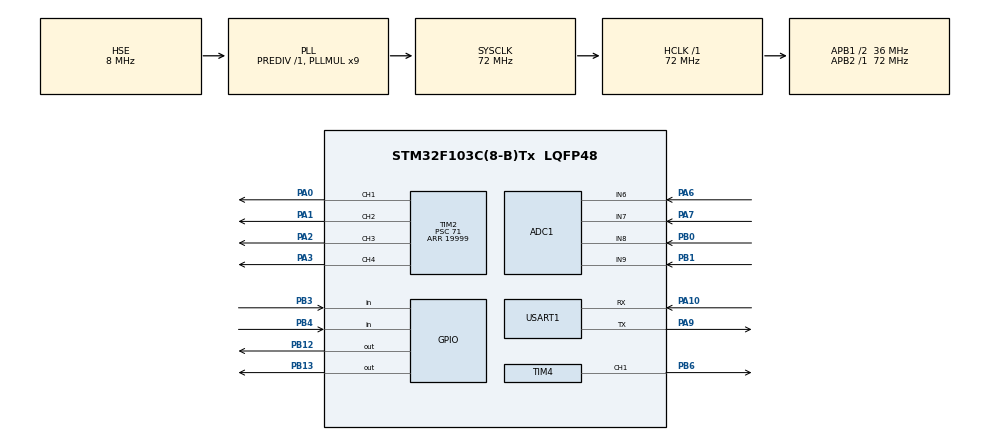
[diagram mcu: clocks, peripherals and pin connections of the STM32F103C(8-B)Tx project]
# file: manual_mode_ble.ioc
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ADC1.Channel-0\#ChannelRegularConversion=ADC_CHANNEL_6
ADC1.NbrOfConversionFlag=1
ADC1.Rank-0\#ChannelRegularConversion=1
ADC1.SamplingTime-0\#ChannelRegularConversion=ADC_SAMPLETIME_55CYCLES_5
ADC1.master=1
Mcu.Family=STM32F1
Mcu.Name=STM32F103C(8-B)Tx
Mcu.Package=LQFP48
NVIC.PriorityGroup=NVIC_PRIORITYGROUP_4
NVIC.USART1_IRQn=true\:0\:0\:false\:false\:true\:true\:true\:true
PA0-WKUP.Signal=S_TIM2_CH1_ETR
PA1.Signal=S_TIM2_CH2
PA10.Mode=Asynchronous
PA10.Signal=USART1_RX
PA13.Mode=Serial_Wire
PA13.Signal=SYS_JTMS-SWDIO
PA14.Mode=Serial_Wire
PA14.Signal=SYS_JTCK-SWCLK
PA2.Signal=S_TIM2_CH3
PA3.Signal=S_TIM2_CH4
PA6.Signal=ADCx_IN6
PA7.Signal=ADCx_IN7
PA9.Mode=Asynchronous
PA9.Signal=USART1_TX
PB0.Signal=ADCx_IN8
PB1.Signal=ADCx_IN9
PB12.Signal=GPIO_Output
PB13.Signal=GPIO_Output
PB3.Signal=GPIO_Input
PB4.Signal=GPIO_Input
PB6.Signal=S_TIM4_CH1
PD0-OSC_IN.Mode=HSE-External-Oscillator
PD0-OSC_IN.Signal=RCC_OSC_IN
PD1-OSC_OUT.Mode=HSE-External-Oscillator
PD1-OSC_OUT.Signal=RCC_OSC_OUT
ProjectManager.HeapSize=0x200
ProjectManager.StackSize=0x400
ProjectManager.TargetToolchain=STM32CubeIDE
RCC.ADCPresc=RCC_ADCPCLK2_DIV6
RCC.AHBFreq_Value=72000000
RCC.APB1CLKDivider=RCC_HCLK_DIV2
RCC.APB1Freq_Value=36000000
RCC.APB1TimFreq_Value=72000000
RCC.APB2Freq_Value=72000000
RCC.APB2TimFreq_Value=72000000
RCC.HCLKFreq_Value=72000000
RCC.PLLMUL=RCC_PLL_MUL9
RCC.PLLSourceVirtual=RCC_PLLSOURCE_HSE
RCC.SYSCLKFreq_VALUE=72000000
RCC.SYSCLKSource=RCC_SYSCLKSOURCE_PLLCLK
RCC.USBFreq_Value=72000000
SH.ADCx_IN6.0=ADC1_IN6,IN6
SH.ADCx_IN7.0=ADC1_IN7,IN7
SH.ADCx_IN8.0=ADC1_IN8,IN8
SH.ADCx_IN9.0=ADC1_IN9,IN9
SH.S_TIM2_CH1_ETR.0=TIM2_CH1,PWM Generation1 CH1
SH.S_TIM2_CH2.0=TIM2_CH2,PWM Generation2 CH2
SH.S_TIM2_CH3.0=TIM2_CH3,PWM Generation3 CH3
SH.S_TIM2_CH4.0=TIM2_CH4,PWM Generation4 CH4
SH.S_TIM4_CH1.0=TIM4_CH1,PWM Generation1 CH1
TIM2.Channel-PWM\ Generation1\ CH1=TIM_CHANNEL_1
TIM2.Channel-PWM\ Generation2\ CH2=TIM_CHANNEL_2
TIM2.Channel-PWM\ Generation3\ CH3=TIM_CHANNEL_3
TIM2.Channel-PWM\ Generation4\ CH4=TIM_CHANNEL_4
TIM2.Period=19999
TIM2.Prescaler=71
TIM4.Channel-PWM\ Generation1\ CH1=TIM_CHANNEL_1
TIM4.Period=19999
TIM4.Prescaler=71
USART1.VirtualMode=VM_ASYNC
VP_TIM2_VS_ClockSourceINT.Mode=Internal
VP_TIM4_VS_ClockSourceINT.Mode=Internal
board=custom

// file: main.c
/* USER CODE BEGIN Header */
/**
  ******************************************************************************
  * @file           : main.c
  * @brief          : Main program body
  ******************************************************************************
  * @attention
  *
  * Copyright (c) 2026 STMicroelectronics.
  * All rights reserved.
  *
  * This software is licensed under terms that can be found in the LICENSE file
  * in the root directory of this software component.
  * If no LICENSE file comes with this software, it is provided AS-IS.
  *
  ******************************************************************************
  */
/* USER CODE END Header */
#include "main.h"
#include <stdio.h>

ADC_HandleTypeDef hadc1;

TIM_HandleTypeDef htim2;
TIM_HandleTypeDef htim4;

UART_HandleTypeDef huart1;

/* USER CODE BEGIN PV */
#define DEAD_BAND_LOW	1948
#define DEAD_BAND_HIGH	2148

//Global joint speed
float global_angular_speed = 25.0f;

const uint32_t LOOP_INTERVAL_MS = 20;
uint32_t last_loop_tick = 0;

//Current joint position
float angle_base = 90.0f; //0 to 180
float angle_shoulder = 0.0f; //0 to 90
float angle_elbow = 0.0f;//0 to 90
float angle_wrist = 45.0f; //0 to 90
float angle_grab = 30.0f; //0 to 60

// Mechanical joint boundary limits
#define BASE_MIN        0.0f
#define BASE_MAX      180.0f
#define SHOULDER_MIN    0.0f
#define SHOULDER_MAX   90.0f
#define ELBOW_MIN       0.0f
#define ELBOW_MAX      90.0f
#define WRIST_MIN       0.0f
#define WRIST_MAX      90.0f
#define GRAB_MIN        0.0f
#define GRAB_MAX       60.0f

uint8_t rx_byte = 0;
char rx_buffer[32];
uint8_t rx_index = 0;
volatile uint8_t frame_ready = 0;

//Helper: Dynamically sample any ADC channel with 55.5 cycles sampling time
uint16_t Read_ADC_Channel(uint32_t channel)
{
  ADC_ChannelConfTypeDef sConfig = {0};
  sConfig.Channel = channel;
  sConfig.Rank = ADC_REGULAR_RANK_1;
  sConfig.SamplingTime = ADC_SAMPLETIME_55CYCLES_5;
  HAL_ADC_ConfigChannel(&hadc1, &sConfig);

  HAL_ADC_Start(&hadc1);
  HAL_ADC_PollForConversion(&hadc1, 5);
  uint16_t val = HAL_ADC_GetValue(&hadc1);
  HAL_ADC_Stop(&hadc1);
  return val;
}

// Helper: Convert angle (0-180 deg) to pulse width (500-2500 us)
uint16_t angle_to_pulse(float angle)
{
  if (angle < 0.0f) angle = 0.0f;
  if (angle > 180.0f) angle = 180.0f;
  return (uint16_t)(500.0f + (angle / 180.0f) * 2000.0f);
}

// Helper: Update all 5 hardware timer PWM channels
void Update_Servo_PWM(void)
{
  __HAL_TIM_SET_COMPARE(&htim2, TIM_CHANNEL_1, angle_to_pulse(angle_base));     // PA0
  __HAL_TIM_SET_COMPARE(&htim2, TIM_CHANNEL_2, angle_to_pulse(angle_shoulder)); // PA1
  __HAL_TIM_SET_COMPARE(&htim2, TIM_CHANNEL_3, angle_to_pulse(angle_elbow));    // PA2
  __HAL_TIM_SET_COMPARE(&htim2, TIM_CHANNEL_4, angle_to_pulse(angle_wrist));    // PA3
  __HAL_TIM_SET_COMPARE(&htim4, TIM_CHANNEL_1, angle_to_pulse(angle_grab));     // PB6
}

/* USER CODE END PV */

void SystemClock_Config(void);
static void MX_GPIO_Init(void);
static void MX_ADC1_Init(void);
static void MX_TIM2_Init(void);
static void MX_TIM4_Init(void);
static void MX_USART1_UART_Init(void);

int main(void)
{

  /* MCU Configuration--------------------------------------------------------*/

  /* Reset of all peripherals, Initializes the Flash interface and the Systick. */
  HAL_Init();

  /* Configure the system clock */
  SystemClock_Config();

  /* Initialize all configured peripherals */
  MX_GPIO_Init();
  MX_ADC1_Init();
  MX_TIM2_Init();
  MX_TIM4_Init();
  MX_USART1_UART_Init();
  /* USER CODE BEGIN 2 */

  // 1. Calibrate ADC
    HAL_ADCEx_Calibration_Start(&hadc1);

    // 2. Start PWM generation on all 5 servo channels
    HAL_TIM_PWM_Start(&htim2, TIM_CHANNEL_1);
    HAL_TIM_PWM_Start(&htim2, TIM_CHANNEL_2);
    HAL_TIM_PWM_Start(&htim2, TIM_CHANNEL_3);
    HAL_TIM_PWM_Start(&htim2, TIM_CHANNEL_4);
    HAL_TIM_PWM_Start(&htim4, TIM_CHANNEL_1);

    // 3. Move servos to default initial angles
    Update_Servo_PWM();

    // 4. Ensure LEDs start OFF
    HAL_GPIO_WritePin(GPIOB, GPIO_PIN_12 | GPIO_PIN_13, GPIO_PIN_RESET);

    // 5. Start background non-blocking UART reception
    HAL_UART_Receive_IT(&huart1, &rx_byte, 1);

  /* USER CODE END 2 */

  /* Infinite loop */
  /* USER CODE BEGIN WHILE */
  while (1)
  {
	  //Mode1
	  if (frame_ready){
		  int b, s, e, w, g;
		  if (sscanf(rx_buffer, "<%d,%d,%d,%d,%d>", &b, &s, &e, &w, &g) == 5){
			  // Enforce boundary safety limits on incoming BLE commands
			  angle_base     = (b < BASE_MIN)     ? BASE_MIN     : (b > BASE_MAX)     ? BASE_MAX     : (float)b;
			  angle_shoulder = (s < SHOULDER_MIN) ? SHOULDER_MIN : (s > SHOULDER_MAX) ? SHOULDER_MAX : (float)s;
			  angle_elbow    = (e < ELBOW_MIN)    ? ELBOW_MIN    : (e > ELBOW_MAX)    ? ELBOW_MAX    : (float)e;
			  angle_wrist    = (w < WRIST_MIN)    ? WRIST_MIN    : (w > WRIST_MAX)    ? WRIST_MAX    : (float)w;
			  angle_grab     = (g < GRAB_MIN)     ? GRAB_MIN     : (g > GRAB_MAX)     ? GRAB_MAX     : (float)g;

			  // Apply updated angles to hardware immediately
			  Update_Servo_PWM();

			  // Toggle PB12 LED to confirm packet receipt
			  HAL_GPIO_TogglePin(GPIOB, GPIO_PIN_12);

			  // Send full acknowledgment frame back to PC
			  char ack_msg[48];
			  int len = snprintf(ack_msg, sizeof(ack_msg), "ACK:%d,%d,%d,%d,%d\r\n",
			                     (int)angle_base, (int)angle_shoulder, (int)angle_elbow, (int)angle_wrist, (int)angle_grab);
			  HAL_UART_Transmit(&huart1, (uint8_t*)ack_msg, len, 50);
		  }
		  frame_ready = 0;
	  }
	  //Mode2
	  if ((HAL_GetTick() - last_loop_tick) >= LOOP_INTERVAL_MS)
	      {
	        last_loop_tick = HAL_GetTick();
	        float step = global_angular_speed * (LOOP_INTERVAL_MS / 1000.0f);
	        uint8_t any_input_active = 0;

	        // Sample 4 Joystick Analog Channels
	        uint16_t adc_base     = Read_ADC_Channel(ADC_CHANNEL_7); // PA7
	        uint16_t adc_shoulder = Read_ADC_Channel(ADC_CHANNEL_6); // PA6
	        uint16_t adc_elbow    = Read_ADC_Channel(ADC_CHANNEL_8); // PB0
	        uint16_t adc_wrist    = Read_ADC_Channel(ADC_CHANNEL_9); // PB1

	        // --- Base Joint (PA7) ---
	        if (adc_base > DEAD_BAND_HIGH) {
	          angle_base -= step;
	          if (angle_base < BASE_MIN) angle_base = BASE_MIN;
	          any_input_active = 1;
	        } else if (adc_base < DEAD_BAND_LOW) {
	          angle_base += step;
	          if (angle_base > BASE_MAX) angle_base = BASE_MAX;
	          any_input_active = 1;
	        }

	        // --- Shoulder Joint (PA6) ---
	        if (adc_shoulder > DEAD_BAND_HIGH) {
	          angle_shoulder -= step;
	          if (angle_shoulder < SHOULDER_MIN) angle_shoulder = SHOULDER_MIN;
	          any_input_active = 1;
	        } else if (adc_shoulder < DEAD_BAND_LOW) {
	          angle_shoulder += step;
	          if (angle_shoulder > SHOULDER_MAX) angle_shoulder = SHOULDER_MAX;
	          any_input_active = 1;
	        }

	        // --- Elbow Joint (PB0) ---
	        if (adc_elbow > DEAD_BAND_HIGH) {
	          angle_elbow += step;
	          if (angle_elbow > ELBOW_MAX) angle_elbow = ELBOW_MAX;
	          any_input_active = 1;
	        } else if (adc_elbow < DEAD_BAND_LOW) {
	          angle_elbow -= step;
	          if (angle_elbow < ELBOW_MIN) angle_elbow = ELBOW_MIN;
	          any_input_active = 1;
	        }

	        // --- Wrist Joint (PB1) ---
	        if (adc_wrist > DEAD_BAND_HIGH) {
	          angle_wrist += step;
	          if (angle_wrist > WRIST_MAX) angle_wrist = WRIST_MAX;
	          any_input_active = 1;
	        } else if (adc_wrist < DEAD_BAND_LOW) {
	          angle_wrist -= step;
	          if (angle_wrist < WRIST_MIN) angle_wrist = WRIST_MIN;
	          any_input_active = 1;
	        }

	        // --- Active-Low Gripper Buttons (PB3 & PB4) ---
	        if (HAL_GPIO_ReadPin(GPIOB, GPIO_PIN_3) == GPIO_PIN_RESET) {
	          angle_grab += step;
	          if (angle_grab > GRAB_MAX) angle_grab = GRAB_MAX;
	          any_input_active = 1;
	        }
	        if (HAL_GPIO_ReadPin(GPIOB, GPIO_PIN_4) == GPIO_PIN_RESET) {
	          angle_grab -= step;
	          if (angle_grab < GRAB_MIN) angle_grab = GRAB_MIN;
	          any_input_active = 1;
	        }

	        // Update PWM outputs if manual controls modified the positions
	        if (any_input_active) {
	          Update_Servo_PWM();
	          HAL_GPIO_WritePin(GPIOB, GPIO_PIN_12, GPIO_PIN_SET);
	        } else {
	          HAL_GPIO_WritePin(GPIOB, GPIO_PIN_12, GPIO_PIN_RESET);
	        }
	      }
    /* USER CODE END WHILE */

  }
}

void SystemClock_Config(void)
{
  RCC_OscInitTypeDef RCC_OscInitStruct = {0};
  RCC_ClkInitTypeDef RCC_ClkInitStruct = {0};
  RCC_PeriphCLKInitTypeDef PeriphClkInit = {0};

  /** Initializes the RCC Oscillators according to the specified parameters
  * in the RCC_OscInitTypeDef structure.
  */
  RCC_OscInitStruct.OscillatorType = RCC_OSCILLATORTYPE_HSE;
  RCC_OscInitStruct.HSEState = RCC_HSE_ON;
  RCC_OscInitStruct.HSEPredivValue = RCC_HSE_PREDIV_DIV1;
  RCC_OscInitStruct.HSIState = RCC_HSI_ON;
  RCC_OscInitStruct.PLL.PLLState = RCC_PLL_ON;
  RCC_OscInitStruct.PLL.PLLSource = RCC_PLLSOURCE_HSE;
  RCC_OscInitStruct.PLL.PLLMUL = RCC_PLL_MUL9;
  if (HAL_RCC_OscConfig(&RCC_OscInitStruct) != HAL_OK)
  {
    Error_Handler();
  }

  /** Initializes the CPU, AHB and APB buses clocks
  */
  RCC_ClkInitStruct.ClockType = RCC_CLOCKTYPE_HCLK|RCC_CLOCKTYPE_SYSCLK
                              |RCC_CLOCKTYPE_PCLK1|RCC_CLOCKTYPE_PCLK2;
  RCC_ClkInitStruct.SYSCLKSource = RCC_SYSCLKSOURCE_PLLCLK;
  RCC_ClkInitStruct.AHBCLKDivider = RCC_SYSCLK_DIV1;
  RCC_ClkInitStruct.APB1CLKDivider = RCC_HCLK_DIV2;
  RCC_ClkInitStruct.APB2CLKDivider = RCC_HCLK_DIV1;

  if (HAL_RCC_ClockConfig(&RCC_ClkInitStruct, FLASH_LATENCY_2) != HAL_OK)
  {
    Error_Handler();
  }
  PeriphClkInit.PeriphClockSelection = RCC_PERIPHCLK_ADC;
  PeriphClkInit.AdcClockSelection = RCC_ADCPCLK2_DIV6;
  if (HAL_RCCEx_PeriphCLKConfig(&PeriphClkInit) != HAL_OK)
  {
    Error_Handler();
  }
}

static void MX_ADC1_Init(void)
{

  ADC_ChannelConfTypeDef sConfig = {0};

  /** Common config
  */
  hadc1.Instance = ADC1;
  hadc1.Init.ScanConvMode = ADC_SCAN_DISABLE;
  hadc1.Init.ContinuousConvMode = DISABLE;
  hadc1.Init.DiscontinuousConvMode = DISABLE;
  hadc1.Init.ExternalTrigConv = ADC_SOFTWARE_START;
  hadc1.Init.DataAlign = ADC_DATAALIGN_RIGHT;
  hadc1.Init.NbrOfConversion = 1;
  if (HAL_ADC_Init(&hadc1) != HAL_OK)
  {
    Error_Handler();
  }

  /** Configure Regular Channel
  */
  sConfig.Channel = ADC_CHANNEL_6;
  sConfig.Rank = ADC_REGULAR_RANK_1;
  sConfig.SamplingTime = ADC_SAMPLETIME_55CYCLES_5;
  if (HAL_ADC_ConfigChannel(&hadc1, &sConfig) != HAL_OK)
  {
    Error_Handler();
  }

}

static void MX_TIM2_Init(void)
{

  TIM_ClockConfigTypeDef sClockSourceConfig = {0};
  TIM_MasterConfigTypeDef sMasterConfig = {0};
  TIM_OC_InitTypeDef sConfigOC = {0};

  htim2.Instance = TIM2;
  htim2.Init.Prescaler = 71;
  htim2.Init.CounterMode = TIM_COUNTERMODE_UP;
  htim2.Init.Period = 19999;
  htim2.Init.ClockDivision = TIM_CLOCKDIVISION_DIV1;
  htim2.Init.AutoReloadPreload = TIM_AUTORELOAD_PRELOAD_DISABLE;
  if (HAL_TIM_Base_Init(&htim2) != HAL_OK)
  {
    Error_Handler();
  }
  sClockSourceConfig.ClockSource = TIM_CLOCKSOURCE_INTERNAL;
  if (HAL_TIM_ConfigClockSource(&htim2, &sClockSourceConfig) != HAL_OK)
  {
    Error_Handler();
  }
  if (HAL_TIM_PWM_Init(&htim2) != HAL_OK)
  {
    Error_Handler();
  }
  sMasterConfig.MasterOutputTrigger = TIM_TRGO_RESET;
  sMasterConfig.MasterSlaveMode = TIM_MASTERSLAVEMODE_DISABLE;
  if (HAL_TIMEx_MasterConfigSynchronization(&htim2, &sMasterConfig) != HAL_OK)
  {
    Error_Handler();
  }
  sConfigOC.OCMode = TIM_OCMODE_PWM1;
  sConfigOC.Pulse = 0;
  sConfigOC.OCPolarity = TIM_OCPOLARITY_HIGH;
  sConfigOC.OCFastMode = TIM_OCFAST_DISABLE;
  if (HAL_TIM_PWM_ConfigChannel(&htim2, &sConfigOC, TIM_CHANNEL_1) != HAL_OK)
  {
    Error_Handler();
  }
  if (HAL_TIM_PWM_ConfigChannel(&htim2, &sConfigOC, TIM_CHANNEL_2) != HAL_OK)
  {
    Error_Handler();
  }
  if (HAL_TIM_PWM_ConfigChannel(&htim2, &sConfigOC, TIM_CHANNEL_3) != HAL_OK)
  {
    Error_Handler();
  }
  if (HAL_TIM_PWM_ConfigChannel(&htim2, &sConfigOC, TIM_CHANNEL_4) != HAL_OK)
  {
    Error_Handler();
  }
  HAL_TIM_MspPostInit(&htim2);

}

static void MX_TIM4_Init(void)
{

  TIM_ClockConfigTypeDef sClockSourceConfig = {0};
  TIM_MasterConfigTypeDef sMasterConfig = {0};
  TIM_OC_InitTypeDef sConfigOC = {0};

  htim4.Instance = TIM4;
  htim4.Init.Prescaler = 71;
  htim4.Init.CounterMode = TIM_COUNTERMODE_UP;
  htim4.Init.Period = 19999;
  htim4.Init.ClockDivision = TIM_CLOCKDIVISION_DIV1;
  htim4.Init.AutoReloadPreload = TIM_AUTORELOAD_PRELOAD_DISABLE;
  if (HAL_TIM_Base_Init(&htim4) != HAL_OK)
  {
    Error_Handler();
  }
  sClockSourceConfig.ClockSource = TIM_CLOCKSOURCE_INTERNAL;
  if (HAL_TIM_ConfigClockSource(&htim4, &sClockSourceConfig) != HAL_OK)
  {
    Error_Handler();
  }
  if (HAL_TIM_PWM_Init(&htim4) != HAL_OK)
  {
    Error_Handler();
  }
  sMasterConfig.MasterOutputTrigger = TIM_TRGO_RESET;
  sMasterConfig.MasterSlaveMode = TIM_MASTERSLAVEMODE_DISABLE;
  if (HAL_TIMEx_MasterConfigSynchronization(&htim4, &sMasterConfig) != HAL_OK)
  {
    Error_Handler();
  }
  sConfigOC.OCMode = TIM_OCMODE_PWM1;
  sConfigOC.Pulse = 0;
  sConfigOC.OCPolarity = TIM_OCPOLARITY_HIGH;
  sConfigOC.OCFastMode = TIM_OCFAST_DISABLE;
  if (HAL_TIM_PWM_ConfigChannel(&htim4, &sConfigOC, TIM_CHANNEL_1) != HAL_OK)
  {
    Error_Handler();
  }
  HAL_TIM_MspPostInit(&htim4);

}

static void MX_USART1_UART_Init(void)
{

  huart1.Instance = USART1;
  huart1.Init.BaudRate = 115200;
  huart1.Init.WordLength = UART_WORDLENGTH_8B;
  huart1.Init.StopBits = UART_STOPBITS_1;
  huart1.Init.Parity = UART_PARITY_NONE;
  huart1.Init.Mode = UART_MODE_TX_RX;
  huart1.Init.HwFlowCtl = UART_HWCONTROL_NONE;
  huart1.Init.OverSampling = UART_OVERSAMPLING_16;
  if (HAL_UART_Init(&huart1) != HAL_OK)
  {
    Error_Handler();
  }

}

static void MX_GPIO_Init(void)
{
  GPIO_InitTypeDef GPIO_InitStruct = {0};

  /* GPIO Ports Clock Enable */
  __HAL_RCC_GPIOD_CLK_ENABLE();
  __HAL_RCC_GPIOA_CLK_ENABLE();
  __HAL_RCC_GPIOB_CLK_ENABLE();

  /*Configure GPIO pin Output Level */
  HAL_GPIO_WritePin(GPIOB, GPIO_PIN_12|GPIO_PIN_13, GPIO_PIN_RESET);

  /*Configure GPIO pins : PB12 PB13 */
  GPIO_InitStruct.Pin = GPIO_PIN_12|GPIO_PIN_13;
  GPIO_InitStruct.Mode = GPIO_MODE_OUTPUT_PP;
  GPIO_InitStruct.Pull = GPIO_NOPULL;
  GPIO_InitStruct.Speed = GPIO_SPEED_FREQ_LOW;
  HAL_GPIO_Init(GPIOB, &GPIO_InitStruct);

  /*Configure GPIO pins : PB3 PB4 */
  GPIO_InitStruct.Pin = GPIO_PIN_3|GPIO_PIN_4;
  GPIO_InitStruct.Mode = GPIO_MODE_INPUT;
  GPIO_InitStruct.Pull = GPIO_NOPULL;
  HAL_GPIO_Init(GPIOB, &GPIO_InitStruct);

}

/* USER CODE BEGIN 4 */
// Non-blocking UART frame assembler (<...>)
void HAL_UART_RxCpltCallback(UART_HandleTypeDef *huart)
{
  if (huart->Instance == USART1)
  {
    if (rx_byte == '<')
    {
      rx_index = 0;
      rx_buffer[rx_index++] = rx_byte;
    }
    else if (rx_byte == '>')
    {
      if (rx_index < sizeof(rx_buffer) - 1)
      {
        rx_buffer[rx_index++] = rx_byte;
        rx_buffer[rx_index] = '\0';
        frame_ready = 1;
      }
    }
    else if (rx_index > 0 && rx_index < sizeof(rx_buffer) - 2)
    {
      rx_buffer[rx_index++] = rx_byte;
    }

    HAL_UART_Receive_IT(&huart1, &rx_byte, 1);
  }
}

/* USER CODE END 4 */

void Error_Handler(void)
{
  __disable_irq();
  while (1)
  {
  }
}
